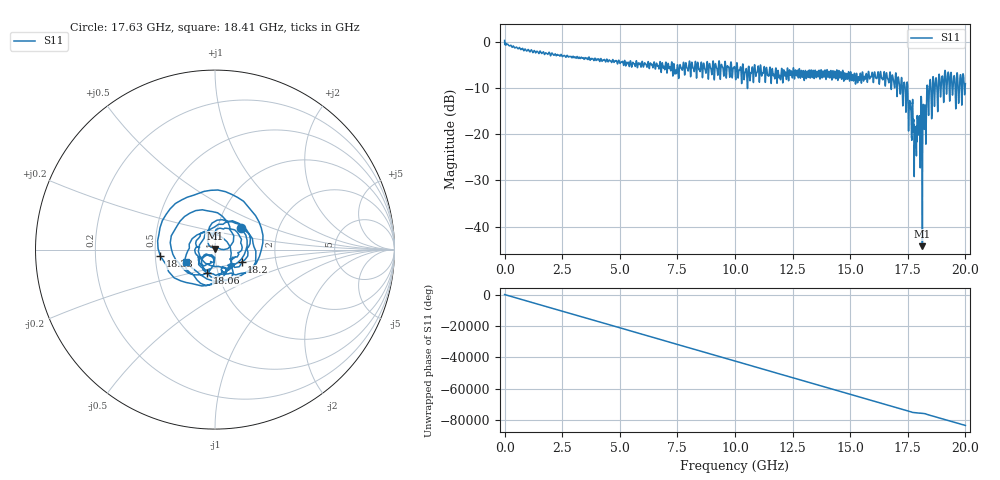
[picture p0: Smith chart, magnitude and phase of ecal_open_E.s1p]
! MS46122B
! 2250307/22442219
! 6/18/2025 7:46:25 AM
! C:\USERS\SPARKY\DOCUMENTS\VNA_DATA\JUNE18_2025\3.0K\ECAL_OPEN_E.S1P
! CHANNEL.1
! TR.MEASUREMENT
! RAW.DATA
# GHZ S RI R 50.0
! FREQ.GHZ  S11RE  S11IM
!; PortSelection: Port_1
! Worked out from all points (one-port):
!   10001 points, 1 MHz to 20 GHz, reference 50 ohm
!   lowest |S11| = -44.2 dB at 18.13 GHz (marker M1), VSWR 1.01, Z = 49.9 + j0.6 ohm
!   |S11| at or under -10 dB: 17.38443 GHz to 17.45764 GHz (73.21 MHz wide, 0.42 % of centre); 17.5 GHz to 18.33 GHz (831.9 MHz wide, 4.64 % of centre); 18.36243 GHz to 18.43743 GHz (75 MHz wide, 0.408 % of centre) (the widest 3 of 20)
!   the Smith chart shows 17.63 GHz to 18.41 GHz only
!   S11 on the Smith chart (normalised r, x): 17.63 GHz: 1.30, +0.33; 18.06 GHz: 0.89, -0.23; 18.2 GHz: 1.33, -0.18; 18.33 GHz: 0.53, -0.04; 18.41 GHz: 0.72, -0.10
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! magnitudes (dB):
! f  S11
! 1 MHz  0.2
! 2.501 GHz  -3.2
! 5.001 GHz  -4.6
! 7.501 GHz  -5.0
! 10 GHz  -6.0
! 10.47 GHz  -6.4
! 12.5 GHz  -7.4
! 15 GHz  -7.1
! 16.91 GHz  -9.4
! 17.41 GHz  -13.3
! 17.5 GHz  -10.6
! 17.63 GHz  -14.4
! 17.82 GHz  -19.4
! 17.95 GHz  -19.6
! 18.01 GHz  -16.9
! 18.06 GHz  -17.3
! 18.13 GHz  -44.2
! 18.2 GHz  -15.8
! 18.22 GHz  -17.7
! 18.26 GHz  -14.5
! 18.33 GHz  -10.3
! 18.41 GHz  -15.3
! 18.47 GHz  -8.2
! 18.67 GHz  -12.6
! 18.73 GHz  -8.0
! 19.19 GHz  -11.2
! 19.65 GHz  -6.8
! 20 GHz  -9.1
